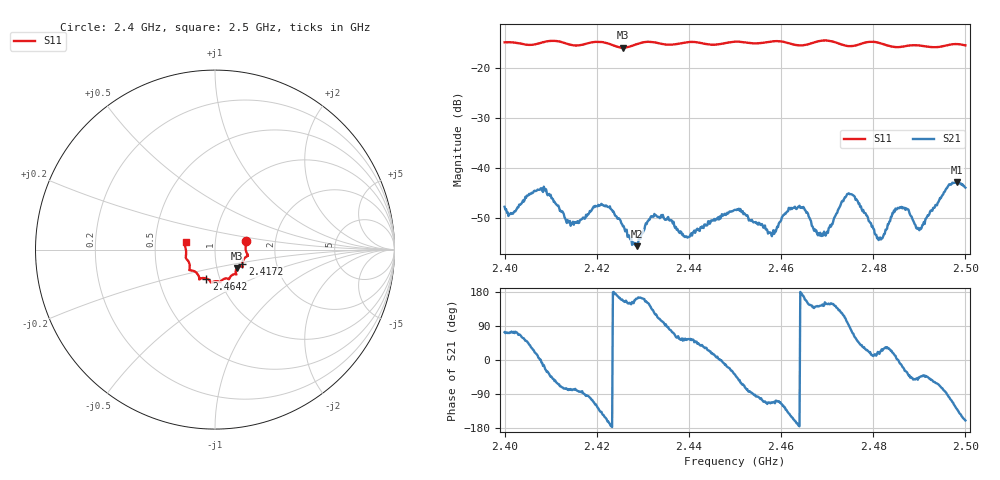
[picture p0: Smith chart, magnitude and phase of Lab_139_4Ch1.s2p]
# Hz S RI R 50
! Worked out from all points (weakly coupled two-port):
!   601 points, 2.4 GHz to 2.5 GHz, reference 50 ohm
!   highest |S21| = -42.73 dB at 2.4982 GHz (marker M1); lowest = -55.5 dB at 2.4287 GHz (marker M2)
!   lowest |S11| = -15.9 dB at 2.4257 GHz (marker M3), VSWR 1.38, Z = 62.4 - j13.1 ohm
!   |S11| at or under -10 dB: start of sweep to end of sweep
!   S12 and S22 are empty: the file has one direction only
!   S11 on the Smith chart (normalised r, x): 2.4 GHz: 1.41, +0.14; 2.4172 GHz: 1.34, -0.22; 2.4642 GHz: 0.86, -0.29; 2.5 GHz: 0.72, +0.06
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2.4e9  0.1733 0.0497  0.00119 0.00396  0 0  0 0
2.408167e9  0.1784 -0.0225  0.00595 -0.000835  0 0  0 0
2.413833e9  0.1668 -0.0454  0.000543 -0.00291  0 0  0 0
2.416667e9  0.1529 -0.0747  0.000255 -0.00308  0 0  0 0
2.417167e9  0.1522 -0.0803  7.47e-05 -0.00322  0 0  0 0
2.4215e9  0.1532 -0.0953  -0.0035 -0.00238  0 0  0 0
2.425667e9  0.1225 -0.1024  -0.00243 0.00105  0 0  0 0
2.428667e9  0.1157 -0.129  -0.00159 0.000526  0 0  0 0
2.433333e9  0.1127 -0.1368  -0.00116 0.00307  0 0  0 0
2.439667e9  0.0802 -0.1622  0.00117 0.00166  0 0  0 0
2.45e9  0.0296 -0.1809  0.00304 -0.00239  0 0  0 0
2.457667e9  -0.0171 -0.1827  -0.000948 -0.00209  0 0  0 0
2.464167e9  -0.0482 -0.1612  -0.00404 2.15e-05  0 0  0 0
2.466667e9  -0.0763 -0.1598  -0.00216 0.00158  0 0  0 0
2.469667e9  -0.0878 -0.1668  -0.00184 0.00107  0 0  0 0
2.474833e9  -0.1049 -0.1279  0.000117 0.00552  0 0  0 0
2.481167e9  -0.1423 -0.1083  0.00182 0.000629  0 0  0 0
2.483333e9  -0.1407 -0.0894  0.00237 0.00145  0 0  0 0
2.486333e9  -0.1517 -0.0605  0.00379 -0.00126  0 0  0 0
2.49e9  -0.1627 -0.0412  0.00168 -0.00174  0 0  0 0
2.498167e9  -0.1704 0.0323  -0.00464 -0.00563  0 0  0 0
2.5e9  -0.1633 0.0416  -0.00601 -0.00225  0 0  0 0
